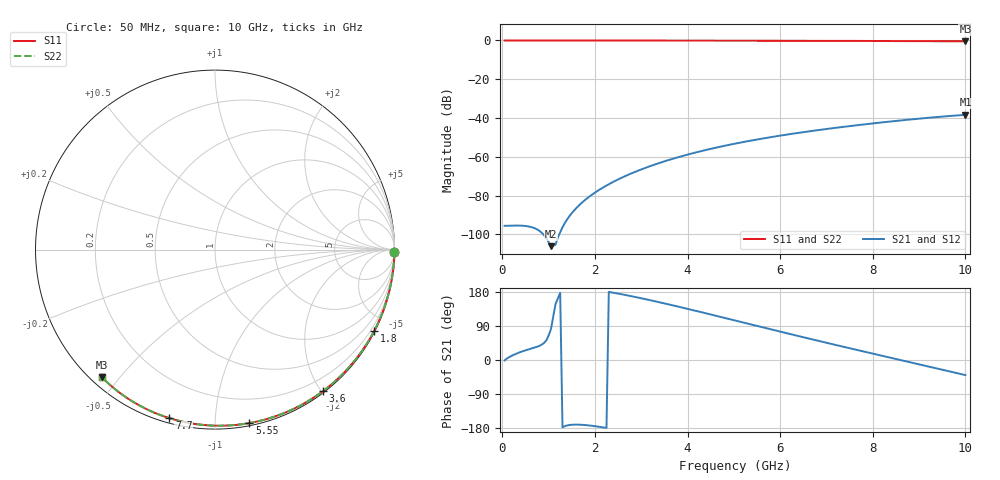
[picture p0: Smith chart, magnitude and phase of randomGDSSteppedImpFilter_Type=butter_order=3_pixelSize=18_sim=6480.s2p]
! freq	dB(S11)	phase(S11)	dB(S12)	phase(S12)
!  dB(S21)	phase(S21)	dB(S22)	phase(S22)
!S-par simulation data
#  GHz  S  DB  R 50
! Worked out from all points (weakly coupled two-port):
!   200 points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, 50 MHz to 10 GHz, reference 50 ohm
!   highest |S21| = -38.33 dB at 10 GHz (marker M1); lowest = -106.0 dB at 1.05 GHz (marker M2)
!   lowest |S11| = -0.4 dB at 10 GHz (marker M3), VSWR 39.15, Z = 1.54 - j22.5 ohm
!   |S11| at or under -10 dB: nowhere
!   |S22| runs from -0.4 to 0.0 dB; largest |S21 - S12| = 0
!   S11 on the Smith chart (normalised r, x): 50 MHz: open; 1.8 GHz: 0.04, -4.17; 3.6 GHz: 0.02, -2.02; 5.55 GHz: 0.02, -1.22; 7.7 GHz: 0.02, -0.76; 10 GHz: 0.03, -0.45
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0.05  -0.00 -0.8  -95.53 -1.1  -95.53 -1.1  -0.00 -0.8
0.55  -0.01 -8.4  -95.78 27.4  -95.78 27.4  -0.01 -8.4
1.05  -0.02 -15.9  -106.02 81.1  -106.02 81.1  -0.02 -15.9
1.75  -0.03 -26.2  -82.96 -171.3  -82.96 -171.3  -0.03 -26.2
1.8  -0.03 -27.0  -81.96 -171.8  -81.96 -171.8  -0.03 -27.0
1.9  -0.04 -28.4  -80.12 -173.1  -80.12 -173.1  -0.04 -28.4
2.25  -0.04 -33.5  -74.75 -179.3  -74.75 -179.3  -0.04 -33.5
2.45  -0.05 -36.4  -72.22 176.4  -72.22 176.4  -0.05 -36.4
2.65  -0.05 -39.3  -69.95 171.8  -69.95 171.8  -0.05 -39.3
3  -0.06 -44.3  -66.47 163.0  -66.47 163.0  -0.06 -44.3
3.4  -0.07 -49.9  -63.08 152.2  -63.08 152.2  -0.07 -49.9
3.6  -0.07 -52.7  -61.56 146.6  -61.56 146.6  -0.07 -52.7
3.9  -0.08 -56.9  -59.48 137.9  -59.48 137.9  -0.08 -56.9
4.3  -0.09 -62.3  -56.99 126.2  -56.99 126.2  -0.09 -62.3
5.05  -0.11 -72.3  -53.06 103.6  -53.06 103.6  -0.11 -72.3
5.55  -0.13 -78.8  -50.84 88.5  -50.84 88.5  -0.13 -78.8
6.1  -0.15 -85.7  -48.68 71.9  -48.68 71.9  -0.15 -85.7
6.7  -0.18 -93.2  -46.59 54.2  -46.59 54.2  -0.18 -93.2
7.7  -0.24 -105.2  -43.57 25.3  -43.57 25.3  -0.24 -105.2
8.35  -0.29 -112.8  -41.84 6.9  -41.84 6.9  -0.29 -112.8
9.15  -0.36 -122.0  -39.96 -15.7  -39.96 -15.7  -0.36 -122.0
10  -0.44 -131.6  -38.33 -39.8  -38.33 -39.8  -0.44 -131.6
